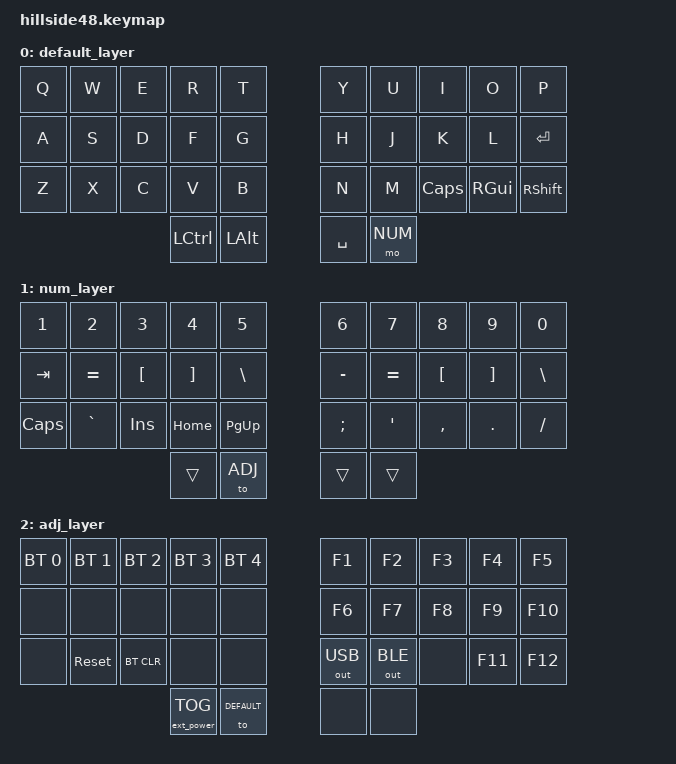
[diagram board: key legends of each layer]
/*
 * Copyright (c) 2022 The ZMK Contributors
 *
 * SPDX-License-Identifier: MIT
 */

#include <behaviors.dtsi>
#include <dt-bindings/zmk/bt.h>
#include <dt-bindings/zmk/ext_power.h>
#include <dt-bindings/zmk/keys.h>
#include <dt-bindings/zmk/outputs.h>


#define DEFAULT 0
#define NUM    1
#define ADJ    2

/ {
        keymap {
                compatible = "zmk,keymap";

                default_layer {
/* QWERTY
 * ------------------------------------------------------------------------------------------------------------------------------
 * |   Q   |   W   |   E   |   R   |   T   |-----------------------------------|   Y   |   U   |   I   |   O   |   P   | 
 * |   A   |   S   |   D   |   F   |   G   |-----------------------------------|   H   |   J   |   K   |   L   | ENTER | 
 * |   Z   |   X   |   C   |   V   |   B   | ----------------------------------|   N   |   M   | CAPS  |  WIN  | SHIFT | 
 * ----------------        |  CTRL |  LALT | ----------------------------------|  SPACE|  MO 1 |-----------------------
 */
                        bindings = <
 &kp  Q        &kp  W        &kp  E        &kp  R        &kp  T                          &kp  Y        &kp  U        &kp  I        &kp  O        &kp  P       
 &kp  A        &kp  S        &kp  D        &kp  F        &kp  G                          &kp  H        &kp  J        &kp  K        &kp  L        &kp  ENTER   
 &kp  Z        &kp  X        &kp  C        &kp  V        &kp  B                          &kp  N        &kp  M        &kp CAPS      &kp RGUI      &kp  RSHFT 
                                           &kp LCTRL     &kp LALT                        &kp SPACE     &mo NUM   
                  >;
		  };

                 num_layer {
/* NUM
 * ------------------------------------------------------------------------------------------------------------------------------
 * |   1   |   2   |   3   |   4   |   5   |-----------------------------------|   6   |   7   |   8   |   9   |   0   | 
 * |  TAB  |   =   |   [   |   ]   |   \   |-----------------------------------|   -   |   =   |   [   |   ]   |   \   | 
 * |  CAPS |   `   |  INS  |  HOME |  PGUP | ----------------------------------|   ;   |   '   |   ,   |   .   |   /   | 
 * ----------------        |  CTRL |  TO 2 | ----------------------------------|       |       |-----------------------
 */
                        bindings = <
 &kp  N1       &kp  N2       &kp  N3       &kp  N4       &kp  N5                                                                        &kp  N6       &kp  N7       &kp  N8       &kp  N9       &kp N0       
 &kp TAB       &kp EQUAL     &kp LBKT      &kp RBKT      &kp BSLH                                                                       &kp MINUS     &kp EQUAL     &kp LBKT      &kp RBKT      &kp BSLH 
 &kp CAPS      &kp GRAVE     &kp INS       &kp HOME      &kp PG_UP                                                                      &kp SEMI      &kp SQT       &kp COMMA     &kp DOT       &kp SLASH 
                                           &trans        &to ADJ                                                                        &trans        &trans         
                  >;
	          };

                 adj_layer {
/* ADJ
 * ------------------------------------------------------------------------------------------------------------------------------
 * |  BT0  |  BT1  |  BT2  |  BT3  |  BT4  |-----------------------------------|   F1  |   F2  |   F3  |   F4  |   F5  | 
 * |       |       |       |       |       |-----------------------------------|   F6  |   F7  |   F8  |   F9  |   F10 | 
 * |       | RESET |BT_CLR |       |       | ----------------------------------|   USB |   BLE |       |   F11 |   F12 | 
 * ----------------        | POWER | TO 0  | ----------------------------------|       |       |-----------------------
 */
                        bindings = <  
 &bt  BT_SEL 0    &bt  BT_SEL 1     &bt  BT_SEL 2     &bt  BT_SEL 3      &bt  BT_SEL 4                   &kp  F1       &kp  F2       &kp  F3       &kp  F4       &kp  F5            
 &none            &none             &none             &none              &none                           &kp  F6       &kp  F7       &kp  F8       &kp  F9       &kp  F10  
 &none            &sys_reset        &bt BT_CLR        &none              &none                           &out OUT_USB  &out OUT_BLE  &none         &kp  F11      &kp  F12
                                                      &ext_power EP_TOG  &to DEFAULT                     &none         &none                  
                    >;
	            };
		

        };

    behaviors {
        gresc: grave_escape {
            compatible = "zmk,behavior-mod-morph";
            #binding-cells = <0>;
            bindings = <&kp P>, <&kp BSPC>;
            mods = <(MOD_RSFT)>;
        };
    };


};
